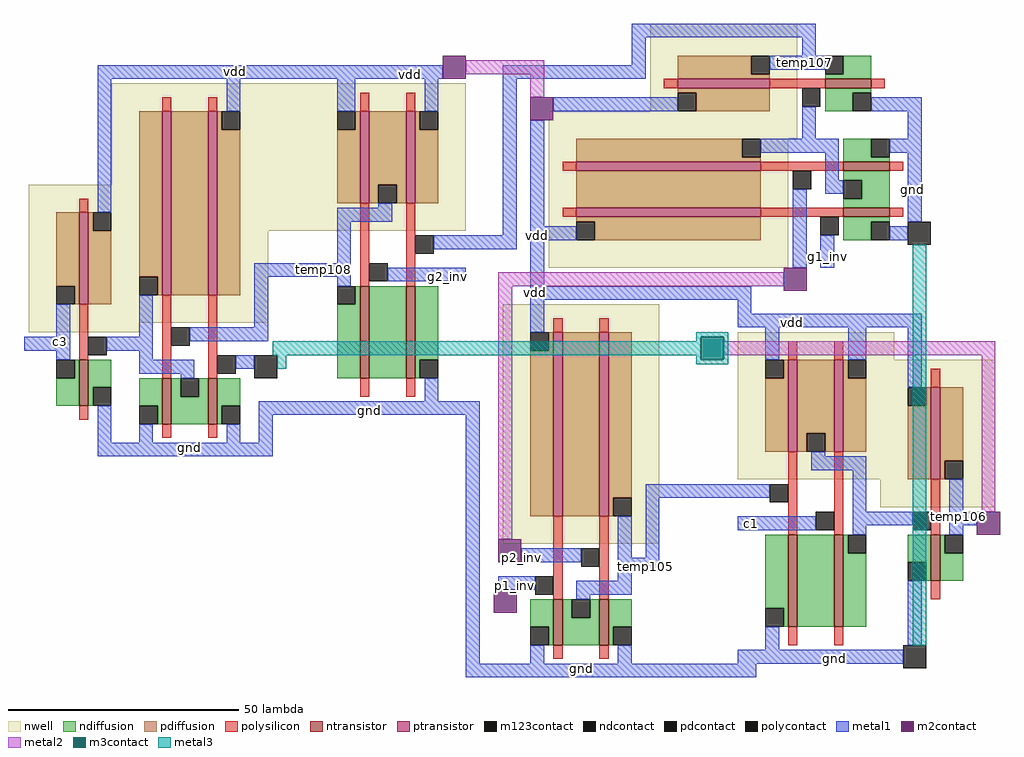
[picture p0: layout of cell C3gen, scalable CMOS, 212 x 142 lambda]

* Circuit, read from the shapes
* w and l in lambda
.subckt C3gen c1 c3 g1_inv g2_inv gnd p1_inv p2_inv temp105 temp106 temp107 temp108 vdd
M1 gnd n1 c3 VSUBS nfet w=10 l=2
M2 n1 temp108 gnd VSUBS nfet w=10 l=2
M3 gnd temp106 n1 VSUBS nfet w=10 l=2
M4 n2 g2_inv temp108 VSUBS nfet w=20 l=2
M5 gnd temp107 n2 VSUBS nfet w=20 l=2
M6 temp105 p1_inv gnd VSUBS nfet w=10 l=2
M7 gnd p2_inv temp105 VSUBS nfet w=10 l=2
M8 n3 temp105 gnd VSUBS nfet w=20 l=2
M9 temp107 n4 gnd VSUBS nfet w=10 l=2
M10 n5 c1 n3 VSUBS nfet w=20 l=2
M11 n4 g1_inv gnd VSUBS nfet w=10 l=2
M12 gnd p2_inv n4 VSUBS nfet w=10 l=2
M13 temp106 n5 gnd VSUBS nfet w=10 l=2
M14 vdd n1 c3 n6 pfet w=20 l=2
M15 n7 temp108 n1 n6 pfet w=40 l=2
M16 vdd temp106 n7 n6 pfet w=40 l=2
M17 temp108 g2_inv vdd n6 pfet w=20 l=2
M18 vdd temp107 temp108 n6 pfet w=20 l=2
M19 n8 p1_inv vdd n9 pfet w=40 l=2
M20 n10 g1_inv vdd n11 pfet w=40 l=2
M21 n4 p2_inv n10 n11 pfet w=40 l=2
M22 temp105 p2_inv n8 n9 pfet w=40 l=2
M23 temp107 n4 vdd n11 pfet w=20 l=2
M24 n5 temp105 vdd n12 pfet w=20 l=2
M25 vdd c1 n5 n12 pfet w=20 l=2
M26 temp106 n5 vdd n12 pfet w=20 l=2
.ends

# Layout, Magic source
magic
tech scmos
<< nwell >>
rect 396 149 473 171
rect 513 165 545 184
rect 378 139 473 149
rect 491 159 545 165
rect 378 119 430 139
rect 491 131 543 159
rect 378 117 402 119
rect 481 71 515 123
rect 532 111 566 117
rect 532 85 588 111
rect 563 79 588 85
<< ntransistor >>
rect 551 170 561 172
rect 555 152 565 154
rect 555 142 565 144
rect 389 101 391 111
rect 450 107 452 127
rect 460 107 462 127
rect 407 97 409 107
rect 417 97 419 107
rect 492 49 494 59
rect 502 49 504 59
rect 543 53 545 73
rect 553 53 555 73
rect 574 63 576 73
<< ptransistor >>
rect 519 170 539 172
rect 389 123 391 143
rect 407 125 409 165
rect 417 125 419 165
rect 450 145 452 165
rect 460 145 462 165
rect 497 152 537 154
rect 497 142 537 144
rect 492 77 494 117
rect 502 77 504 117
rect 543 91 545 111
rect 553 91 555 111
rect 574 85 576 105
<< ndiffusion >>
rect 555 173 561 177
rect 551 172 561 173
rect 551 169 561 170
rect 551 165 557 169
rect 555 155 561 159
rect 555 154 565 155
rect 555 150 565 152
rect 559 146 565 150
rect 555 144 565 146
rect 555 141 565 142
rect 555 137 561 141
rect 388 107 389 111
rect 384 101 389 107
rect 391 105 396 111
rect 449 123 450 127
rect 445 107 450 123
rect 452 107 460 127
rect 462 111 467 127
rect 462 107 463 111
rect 391 101 392 105
rect 402 101 407 107
rect 406 97 407 101
rect 409 103 411 107
rect 415 103 417 107
rect 409 97 417 103
rect 419 101 424 107
rect 419 97 420 101
rect 487 53 492 59
rect 491 49 492 53
rect 494 55 496 59
rect 500 55 502 59
rect 494 49 502 55
rect 504 53 509 59
rect 538 57 543 73
rect 542 53 543 57
rect 545 53 553 73
rect 555 69 556 73
rect 555 53 560 69
rect 569 67 574 73
rect 573 63 574 67
rect 576 69 577 73
rect 576 63 581 69
rect 504 49 505 53
<< pdiffusion >>
rect 519 173 535 177
rect 519 172 539 173
rect 519 169 539 170
rect 523 165 539 169
rect 384 127 389 143
rect 388 123 389 127
rect 391 139 392 143
rect 391 123 396 139
rect 402 129 407 165
rect 406 125 407 129
rect 409 125 417 165
rect 419 161 420 165
rect 419 125 424 161
rect 449 161 450 165
rect 445 145 450 161
rect 452 149 460 165
rect 452 145 454 149
rect 458 145 460 149
rect 462 161 463 165
rect 462 145 467 161
rect 497 155 533 159
rect 497 154 537 155
rect 497 144 537 152
rect 497 141 537 142
rect 501 137 537 141
rect 491 113 492 117
rect 487 77 492 113
rect 494 77 502 117
rect 504 81 509 117
rect 542 107 543 111
rect 538 91 543 107
rect 545 95 553 111
rect 545 91 547 95
rect 551 91 553 95
rect 555 107 556 111
rect 555 91 560 107
rect 573 101 574 105
rect 504 77 505 81
rect 569 85 574 101
rect 576 89 581 105
rect 576 85 577 89
<< ndcontact >>
rect 551 173 555 177
rect 557 165 561 169
rect 561 155 565 159
rect 555 146 559 150
rect 561 137 565 141
rect 384 107 388 111
rect 445 123 449 127
rect 463 107 467 111
rect 392 101 396 105
rect 402 97 406 101
rect 411 103 415 107
rect 420 97 424 101
rect 487 49 491 53
rect 496 55 500 59
rect 538 53 542 57
rect 556 69 560 73
rect 569 63 573 67
rect 577 69 581 73
rect 505 49 509 53
<< pdcontact >>
rect 535 173 539 177
rect 519 165 523 169
rect 384 123 388 127
rect 392 139 396 143
rect 402 125 406 129
rect 420 161 424 165
rect 445 161 449 165
rect 454 145 458 149
rect 463 161 467 165
rect 533 155 537 159
rect 497 137 501 141
rect 487 113 491 117
rect 538 107 542 111
rect 547 91 551 95
rect 556 107 560 111
rect 569 101 573 105
rect 505 77 509 81
rect 577 85 581 89
<< polysilicon >>
rect 516 170 519 172
rect 539 170 551 172
rect 561 170 564 172
rect 407 165 409 168
rect 417 165 419 168
rect 450 165 452 169
rect 460 165 462 169
rect 389 143 391 146
rect 494 152 497 154
rect 537 152 555 154
rect 565 152 568 154
rect 450 127 452 145
rect 460 127 462 145
rect 494 142 497 144
rect 537 142 555 144
rect 565 142 568 144
rect 389 111 391 123
rect 407 107 409 125
rect 417 107 419 125
rect 492 117 494 120
rect 502 117 504 120
rect 389 98 391 101
rect 450 103 452 107
rect 460 103 462 107
rect 407 94 409 97
rect 417 94 419 97
rect 543 111 545 115
rect 553 111 555 115
rect 574 105 576 109
rect 492 59 494 77
rect 502 59 504 77
rect 543 73 545 91
rect 553 73 555 91
rect 574 73 576 85
rect 574 59 576 63
rect 543 49 545 53
rect 553 49 555 53
rect 492 46 494 49
rect 502 46 504 49
<< polycontact >>
rect 546 166 550 170
rect 452 128 456 132
rect 544 148 548 152
rect 462 134 466 138
rect 550 138 554 142
rect 391 112 395 116
rect 409 114 413 118
rect 419 108 423 112
rect 539 80 543 84
rect 488 60 492 64
rect 498 66 502 70
rect 549 74 553 78
rect 570 74 574 78
<< metal1 >>
rect 509 181 549 184
rect 393 172 468 175
rect 509 175 512 181
rect 546 177 549 181
rect 481 172 512 175
rect 539 174 551 177
rect 393 143 396 172
rect 421 165 424 172
rect 445 165 449 172
rect 464 165 467 172
rect 454 144 457 145
rect 445 141 457 144
rect 445 132 448 141
rect 481 138 484 172
rect 466 135 484 138
rect 492 165 519 168
rect 487 140 490 163
rect 546 159 549 166
rect 561 165 572 168
rect 569 159 572 165
rect 537 156 554 159
rect 551 150 554 156
rect 565 156 572 159
rect 487 137 497 140
rect 427 129 448 132
rect 384 116 387 123
rect 402 116 405 125
rect 427 118 430 129
rect 445 127 448 129
rect 456 128 473 131
rect 487 127 490 137
rect 544 131 547 148
rect 551 147 555 150
rect 569 141 572 156
rect 550 131 553 138
rect 565 137 569 140
rect 487 124 535 127
rect 377 113 387 116
rect 384 111 387 113
rect 395 113 405 116
rect 413 115 430 118
rect 487 117 490 124
rect 532 121 535 124
rect 532 118 572 121
rect 402 111 405 113
rect 402 108 414 111
rect 423 109 427 112
rect 411 107 414 108
rect 538 111 541 118
rect 556 111 560 118
rect 464 102 467 107
rect 569 105 572 118
rect 393 93 396 101
rect 402 93 405 97
rect 421 93 424 97
rect 428 99 476 102
rect 428 93 431 99
rect 393 90 431 93
rect 473 45 476 99
rect 548 90 551 91
rect 548 87 560 90
rect 512 81 539 84
rect 485 67 498 70
rect 506 68 509 77
rect 512 68 515 81
rect 557 78 560 87
rect 578 78 581 85
rect 532 74 549 77
rect 557 75 570 78
rect 557 73 560 75
rect 578 75 584 78
rect 578 73 581 75
rect 506 65 515 68
rect 480 61 488 64
rect 506 63 509 65
rect 497 60 509 63
rect 497 59 500 60
rect 487 45 490 49
rect 506 45 509 49
rect 538 48 541 53
rect 569 49 572 63
rect 532 45 568 48
rect 473 42 536 45
<< m2contact >>
rect 468 172 473 177
rect 487 163 492 168
rect 542 126 547 131
rect 480 67 485 72
rect 584 73 589 78
rect 479 56 484 61
<< metal2 >>
rect 473 173 490 176
rect 487 168 490 173
rect 480 127 542 130
rect 480 72 483 127
rect 529 112 588 115
rect 585 78 588 112
<< m3contact >>
rect 524 111 529 116
<< m123contact >>
rect 569 136 574 141
rect 427 107 432 112
rect 568 44 573 49
<< metal3 >>
rect 523 116 530 117
rect 523 115 524 116
rect 431 112 524 115
rect 432 109 434 112
rect 523 111 524 112
rect 529 111 530 116
rect 523 110 530 111
rect 570 49 573 136
<< labels >>
rlabel metal1 488 125 488 126 5 vdd
rlabel metal1 498 44 498 44 1 gnd
rlabel metal1 544 119 544 119 5 vdd
rlabel metal1 553 46 553 46 1 gnd
rlabel metal1 570 148 570 148 7 gnd
rlabel metal1 488 138 489 138 3 vdd
rlabel metal1 461 173 461 173 5 vdd
rlabel metal1 452 100 452 100 1 gnd
rlabel metal1 423 173 423 174 5 vdd
rlabel metal1 413 92 413 92 1 gnd
rlabel metal1 384 114 386 116 1 c3
rlabel metal1 439 129 445 132 1 temp108
rlabel metal1 579 76 581 78 1 temp106
rlabel metal1 533 75 537 76 1 c1
rlabel metal1 510 65 514 67 1 temp105
rlabel metal1 550 132 553 135 1 g1_inv
rlabel metal1 483 67 487 69 1 p2_inv
rlabel metal1 545 174 548 177 1 temp107
rlabel metal1 481 61 486 63 1 p1_inv
rlabel metal1 468 128 470 130 1 g2_inv
<< end >>
